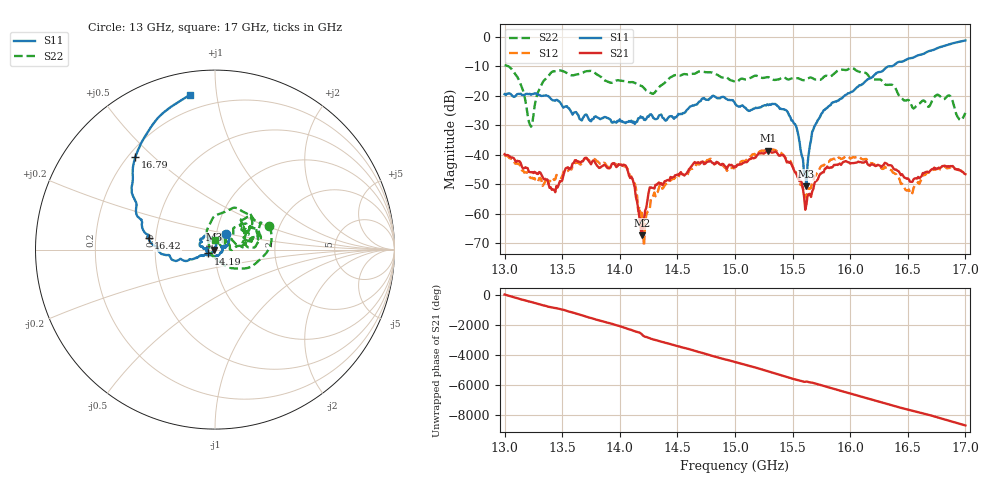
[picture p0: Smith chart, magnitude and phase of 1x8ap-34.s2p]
!Keysight Technologies,P9374A,MY57211807,A.19.30.04
!Date: Friday, May 08, 2026 15:44:29
!Correction: S11(C  2-Port  )
!S21(C  2-Port  )
!S12(C  2-Port  )
!S22(C  2-Port  )
!S2P File: Measurements: S11, S21, S12, S22:
# Hz S  dB  R 50
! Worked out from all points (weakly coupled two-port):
!   401 points, 13 GHz to 17 GHz, reference 50 ohm
!   highest |S21| = -38.66 dB at 15.29 GHz (marker M1); lowest = -67.3 dB at 14.19 GHz (marker M2)
!   lowest |S11| = -50.7 dB at 15.62 GHz (marker M3), VSWR 1.01, Z = 49.7 + j0.0226 ohm
!   |S11| at or under -10 dB: start of sweep to 16.33 GHz
!   |S22| runs from -30.5 to -9.6 dB; largest |S21 - S12| = 0.0027
!   S11 on the Smith chart (normalised r, x): 13 GHz: 1.11, +0.20; 14.19 GHz: 0.93, -0.04; 16.42 GHz: 0.46, +0.07; 16.79 GHz: 0.23, +0.44; 17 GHz: 0.12, +0.84
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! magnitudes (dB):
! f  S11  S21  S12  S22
! 13 GHz  -19.4  -39.8  -40.2  -9.6
! 13.13 GHz  -19.3  -42.2  -43.2  -15.2
! 13.23 GHz  -19.6  -45.9  -48.0  -30.5
! 13.4 GHz  -20.9  -51.0  -48.7  -12.2
! 13.67 GHz  -28.4  -42.2  -42.8  -12.3
! 14.05 GHz  -29.2  -43.7  -43.7  -15.1
! 14.13 GHz  -29.6  -51.3  -49.7  -15.6
! 14.19 GHz  -27.4  -67.3  -59.7  -16.7
! 14.26 GHz  -26.4  -51.1  -58.4  -18.8
! 14.34 GHz  -26.7  -49.4  -51.1  -17.1
! 14.78 GHz  -20.9  -42.2  -41.4  -12.0
! 15 GHz  -22.5  -43.9  -44.3  -15.2
! 15.29 GHz  -23.2  -38.7  -38.4  -13.6
! 15.52 GHz  -29.6  -45.9  -45.4  -14.0
! 15.62 GHz  -50.7  -56.9  -54.4  -14.4
! 15.67 GHz  -32.2  -52.5  -49.1  -13.9
! 15.88 GHz  -21.9  -43.3  -41.1  -11.8
! 16.34 GHz  -10.0  -43.5  -45.0  -16.2
! 16.42 GHz  -8.5  -45.6  -47.7  -19.6
! 16.52 GHz  -7.3  -49.2  -53.0  -22.2
! 16.79 GHz  -3.3  -44.2  -44.7  -20.6
! 17 GHz  -1.2  -46.6  -46.2  -25.8
